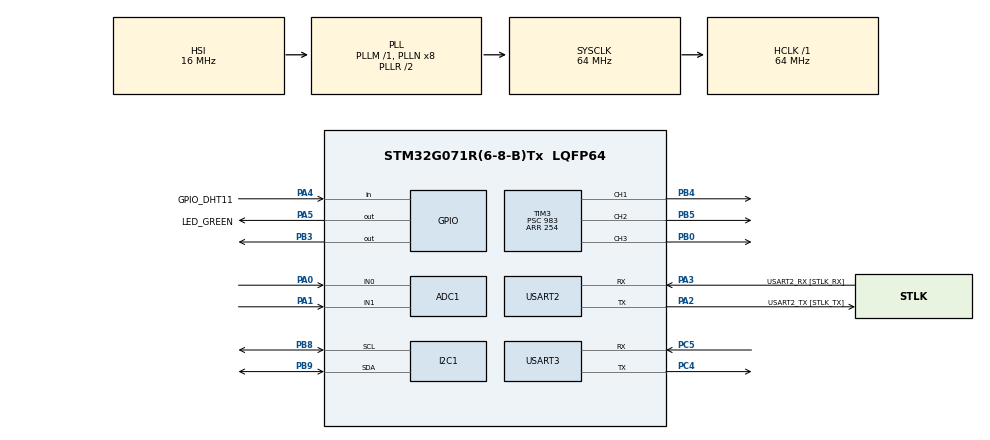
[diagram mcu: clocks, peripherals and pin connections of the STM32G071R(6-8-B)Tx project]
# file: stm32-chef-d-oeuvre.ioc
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ADC1.Channel-0\#ChannelRegularConversion=ADC_CHANNEL_0
ADC1.Channel-1\#ChannelRegularConversion=ADC_CHANNEL_1
ADC1.ClockPrescaler=ADC_CLOCK_ASYNC_DIV1
ADC1.ContinuousConvMode=DISABLE
ADC1.LowPowerAutoWait=ENABLE
ADC1.NbrOfConversion=2
ADC1.NbrOfConversionFlag=1
ADC1.Rank-0\#ChannelRegularConversion=1
ADC1.Rank-1\#ChannelRegularConversion=2
ADC1.SamplingTime-0\#ChannelRegularConversion=ADC_SAMPLINGTIME_COMMON_1
ADC1.SamplingTime-1\#ChannelRegularConversion=ADC_SAMPLINGTIME_COMMON_2
ADC1.master=1
I2C1.Timing=0x10707DBC
Mcu.Family=STM32G0
Mcu.Name=STM32G071R(6-8-B)Tx
Mcu.Package=LQFP64
NVIC.TIM2_IRQn=true\:0\:0\:false\:false\:true\:true\:true
NVIC.TIM6_DAC_LPTIM1_IRQn=true\:0\:0\:false\:false\:true\:true\:true
NVIC.USART2_IRQn=true\:0\:0\:false\:false\:true\:true\:true
NVIC.USART3_4_LPUART1_IRQn=true\:0\:0\:false\:false\:true\:true\:true
PA0.Mode=IN0
PA0.Signal=ADC1_IN0
PA1.Mode=IN1
PA1.Signal=ADC1_IN1
PA13.GPIO_Label=TMS
PA13.Mode=Serial_Wire
PA13.Signal=SYS_SWDIO
PA14-BOOT0.GPIO_Label=TCK
PA14-BOOT0.Mode=Serial_Wire
PA14-BOOT0.Signal=SYS_SWCLK
PA2.GPIO_Label=USART2_TX [STLK_TX]
PA2.GPIO_PuPd=GPIO_PULLUP
PA2.Mode=Asynchronous
PA2.Signal=USART2_TX
PA3.GPIO_Label=USART2_RX [STLK_RX]
PA3.GPIO_PuPd=GPIO_PULLUP
PA3.Mode=Asynchronous
PA3.Signal=USART2_RX
PA4.GPIO_Label=GPIO_DHT11
PA4.Signal=GPIO_Input
PA5.GPIO_Label=LED_GREEN
PA5.GPIO_Speed=GPIO_SPEED_FREQ_HIGH
PA5.Signal=GPIO_Output
PB0.Signal=S_TIM3_CH3
PB3.GPIO_Speed=GPIO_SPEED_FREQ_HIGH
PB3.PinState=GPIO_PIN_SET
PB3.Signal=GPIO_Output
PB4.Signal=S_TIM3_CH1
PB5.Signal=S_TIM3_CH2
PB8.Mode=I2C
PB8.Signal=I2C1_SCL
PB9.Mode=I2C
PB9.Signal=I2C1_SDA
PC13.Mode=SYS_WakeUp1
PC13.Signal=SYS_WKUP2
PC14-OSC32_IN\ (PC14).Mode=LSE-External-Oscillator
PC14-OSC32_IN\ (PC14).Signal=RCC_OSC32_IN
PC15-OSC32_OUT\ (PC15).Mode=LSE-External-Oscillator
PC15-OSC32_OUT\ (PC15).Signal=RCC_OSC32_OUT
PC4.Mode=Asynchronous
PC4.Signal=USART3_TX
PC5.Mode=Asynchronous
PC5.Signal=USART3_RX
PF0-OSC_IN\ (PF0).GPIO_Label=MCO
PF0-OSC_IN\ (PF0).Mode=HSE-External-Clock-Source
PF0-OSC_IN\ (PF0).Signal=RCC_OSC_IN
ProjectManager.HeapSize=0x200
ProjectManager.StackSize=0x400
ProjectManager.TargetToolchain=STM32CubeIDE
RCC.ADCCLockSelection=RCC_ADCCLKSOURCE_HSI
RCC.ADCFreq_Value=16000000
RCC.AHBFreq_Value=64000000
RCC.CortexFreq_Value=64000000
RCC.EXTERNAL_CLOCK_VALUE=12288000
RCC.HCLKFreq_Value=64000000
RCC.HSE_VALUE=8000000
RCC.HSI_VALUE=16000000
RCC.SYSCLKFreq_VALUE=64000000
RCC.SYSCLKSource=RCC_SYSCLKSOURCE_PLLCLK
RCC.VCOOutputFreq_Value=128000000
SH.S_TIM3_CH1.0=TIM3_CH1,PWM Generation1 CH1
SH.S_TIM3_CH2.0=TIM3_CH2,PWM Generation2 CH2
SH.S_TIM3_CH3.0=TIM3_CH3,PWM Generation3 CH3
TIM1.Period=0xffff-1
TIM1.Prescaler=64-1
TIM2.Period=50000-1
TIM2.Prescaler=64-1
TIM3.Channel-PWM\ Generation1\ CH1=TIM_CHANNEL_1
TIM3.Channel-PWM\ Generation2\ CH2=TIM_CHANNEL_2
TIM3.Channel-PWM\ Generation3\ CH3=TIM_CHANNEL_3
TIM3.Period=254
TIM3.Prescaler=983
TIM6.Period=50000-1
TIM6.Prescaler=64-1
USART2.VirtualMode-Asynchronous=VM_ASYNC
USART3.VirtualMode-Asynchronous=VM_ASYNC
VP_SYS_VS_DBSignals.Mode=DisableDeadBatterySignals
VP_TIM1_VS_ClockSourceINT.Mode=Internal
VP_TIM2_VS_ClockSourceINT.Mode=Internal
VP_TIM6_VS_ClockSourceINT.Mode=Enable_Timer
board=NUCLEO-G071RB

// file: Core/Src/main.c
/* USER CODE BEGIN Header */
/**
  ******************************************************************************
  * @file           : main.c
  * @brief          : Main program body
  ******************************************************************************
  * @attention
  *
  * <h2><center>&copy; Copyright (c) 2020 STMicroelectronics.
  * All rights reserved.</center></h2>
  *
  * This software component is licensed by ST under BSD 3-Clause license,
  * the "License"; You may not use this file except in compliance with the
  * License. You may obtain a copy of the License at:
  *                        opensource.org/licenses/BSD-3-Clause
  *
  ******************************************************************************
  */
/* USER CODE END Header */

#include "main.h"

/* USER CODE BEGIN Includes */
#include "stdio.h"
#include <time.h>
#include "math.h"//rand
#include "stdlib.h"//malloc
#include "dbg.h"
#include "tcs34725.h" //RGB Color Sensor
#include "dht11.h" // Humidity & Temperature sensor
#include "mh_sensor_series.h" //Soil moisture
#include "mh-water-sensor.h" //Water level sensor
#include "stm_uid.h"
#include "pump.h"
#include "timer.h"
/* USER CODE END Includes */

/* USER CODE BEGIN PD */
#define RXMAXBUFFERSIZE 512
/* USER CODE END PD */

ADC_HandleTypeDef hadc1;

I2C_HandleTypeDef hi2c1;

TIM_HandleTypeDef htim1;
TIM_HandleTypeDef htim2;
TIM_HandleTypeDef htim3;
TIM_HandleTypeDef htim6;

UART_HandleTypeDef huart2;
UART_HandleTypeDef huart3;

/* USER CODE BEGIN PV */

REQUEST_TYPE FLAG = CYCLE;
uint32_t UIDw0 = 0, UIDw1 = 0, UIDw2 = 0; //for device uid
uint16_t rxIndex = 0;// To built the RX callback
uint8_t rxTemp = 0;//
char rxFromGateway[RXMAXBUFFERSIZE] = {0};//

float realRed = 0.0, realGreen = 0.0, realBlue = 0.0; //RBB driver
float airHumidity = 0.0, temperature = 0.0; //dht11 driver
const char *waterLevel, *moistureState; //water driver & soil moisture
uint32_t start_time;
uint32_t stop_time;
uint32_t periodic_time;

/* USER CODE END PV */

void SystemClock_Config(void);
static void MX_GPIO_Init(void);
static void MX_ADC1_Init(void);
static void MX_I2C1_Init(void);
static void MX_TIM1_Init(void);
static void MX_USART2_UART_Init(void);
static void MX_USART3_UART_Init(void);
static void MX_TIM3_Init(void);
static void MX_TIM2_Init(void);
static void MX_TIM6_Init(void);

/* USER CODE BEGIN 0 */
void readSend_all_sensor_data()
{
	dbg_log("uidW0 = %lu, uidW0 = %lu, uidW0 = %lu", UIDw0, UIDw1, UIDw2);
	HAL_ADC_Start(&hadc1);
	waterLevel = mh_water_get_value();
	dbg_log("water level: %s\n", waterLevel);
	moistureState = moisture_state();
	dbg_log("moisture state: %s\n", moistureState);
	HAL_ADC_Stop(&hadc1);

	tcs34725_get_RGB_Values(&realRed, &realGreen, &realBlue);
	dbg_log("RED = %d, GREEN = %d, BLUE = %d\n", (int) realRed, (int)realGreen, (int)realBlue);
	tcs34725_see_rgbLED(realRed, realGreen, realBlue);

	 //dht11_get_AirHumidity_Temperature(&airHumidity, &temperature);
	 //dbg_log("Air Humidity = %.2f Temperature = %.2f\n", airHumidity, temperature);

	 char *jsonString = malloc(512);
	 sprintf(jsonString,"{\"Id\": %lu, \"AH\": %.2f, \"Tp\": %.2f,  \"Ms\": \"%s\","
	   					" \"Pwr\": \"%s\", \"WL\": \"%s\", \"R\": \"%d\", \"G\":%d, \"B\": %d} ",
	   					UIDw0, 60.0 , 20.0, moistureState, "full", waterLevel,
	   					(int)realRed, (int)realGreen, (int)realBlue);
	 HAL_UART_Transmit(&huart3, (uint8_t *)jsonString, strlen(jsonString), TIME_OUT);
	// HAL_UART_Transmit(&huart2, (uint8_t *)jsonString, strlen(jsonString), TIME_OUT);
	 free(jsonString);

}

/* USER CODE END 0 */

int main(void)
{

  /* MCU Configuration--------------------------------------------------------*/

  /* Reset of all peripherals, Initializes the Flash interface and the Systick. */
  HAL_Init();

  /* Configure the system clock */
  SystemClock_Config();

  /* Initialize all configured peripherals */
  MX_GPIO_Init();
  MX_ADC1_Init();
  MX_I2C1_Init();
  MX_TIM1_Init();
  MX_USART2_UART_Init();
  MX_USART3_UART_Init();
  MX_TIM3_Init();
  MX_TIM2_Init();
  MX_TIM6_Init();
  /* USER CODE BEGIN 2 */
  timer_start(&htim2);
  get_mcu_uid(&UIDw0, &UIDw1, &UIDw2);
  //HAL_UART_Receive_IT(&huart2, (uint8_t *)&rxTemp, 1);//test on serial monitor
  periodic_time = HAL_GetTick();
  HAL_UART_Receive_IT(&huart3, (uint8_t *)&rxTemp, 1);

  /* USER CODE END 2 */

  /* Infinite loop */
  while (1)
  {

    /* USER CODE BEGIN 3 */

	  switch (FLAG) {
	  	  case PERIODIC_DATA:
	  		  printf("periodic data %lu\n", HAL_GetTick() - periodic_time );
	  		  periodic_time = HAL_GetTick();
	  		  readSend_all_sensor_data();
	  		  FLAG = CYCLE;//wait
		  break;
		  case IRRIGATE:
			  pump_action_start();
			  timer_start(&SINGLE_HANDLER);
			  start_time = HAL_GetTick();
			 // printf(" START TIME %lu", start_time);
			  FLAG = CYCLE;
			  break;
		  case STOP_PUMP:
			 pump_action_stop();
			 timer_stop(&SINGLE_HANDLER);
			 stop_time = HAL_GetTick();
			 //printf(" STOP TIME %lu", stop_time);
			 printf(" PUMP TIME %lu\n", stop_time-start_time);
			 FLAG = CYCLE;
			  break;
		  case REQUEST_DATA:
			  readSend_all_sensor_data();
			  FLAG = CYCLE;
			  break;

	  	  default:
	  		  break;
	  }
  }

  /* USER CODE END 3 */
}

void SystemClock_Config(void)
{
  RCC_OscInitTypeDef RCC_OscInitStruct = {0};
  RCC_ClkInitTypeDef RCC_ClkInitStruct = {0};
  RCC_PeriphCLKInitTypeDef PeriphClkInit = {0};

  /** Configure the main internal regulator output voltage
  */
  HAL_PWREx_ControlVoltageScaling(PWR_REGULATOR_VOLTAGE_SCALE1);
  /** Initializes the CPU, AHB and APB busses clocks
  */
  RCC_OscInitStruct.OscillatorType = RCC_OSCILLATORTYPE_HSI;
  RCC_OscInitStruct.HSIState = RCC_HSI_ON;
  RCC_OscInitStruct.HSIDiv = RCC_HSI_DIV1;
  RCC_OscInitStruct.HSICalibrationValue = RCC_HSICALIBRATION_DEFAULT;
  RCC_OscInitStruct.PLL.PLLState = RCC_PLL_ON;
  RCC_OscInitStruct.PLL.PLLSource = RCC_PLLSOURCE_HSI;
  RCC_OscInitStruct.PLL.PLLM = RCC_PLLM_DIV1;
  RCC_OscInitStruct.PLL.PLLN = 8;
  RCC_OscInitStruct.PLL.PLLP = RCC_PLLP_DIV2;
  RCC_OscInitStruct.PLL.PLLQ = RCC_PLLQ_DIV2;
  RCC_OscInitStruct.PLL.PLLR = RCC_PLLR_DIV2;
  if (HAL_RCC_OscConfig(&RCC_OscInitStruct) != HAL_OK)
  {
    Error_Handler();
  }
  /** Initializes the CPU, AHB and APB busses clocks
  */
  RCC_ClkInitStruct.ClockType = RCC_CLOCKTYPE_HCLK|RCC_CLOCKTYPE_SYSCLK
                              |RCC_CLOCKTYPE_PCLK1;
  RCC_ClkInitStruct.SYSCLKSource = RCC_SYSCLKSOURCE_PLLCLK;
  RCC_ClkInitStruct.AHBCLKDivider = RCC_SYSCLK_DIV1;
  RCC_ClkInitStruct.APB1CLKDivider = RCC_HCLK_DIV1;

  if (HAL_RCC_ClockConfig(&RCC_ClkInitStruct, FLASH_LATENCY_2) != HAL_OK)
  {
    Error_Handler();
  }
  /** Initializes the peripherals clocks
  */
  PeriphClkInit.PeriphClockSelection = RCC_PERIPHCLK_USART2|RCC_PERIPHCLK_I2C1
                              |RCC_PERIPHCLK_ADC|RCC_PERIPHCLK_TIM1;
  PeriphClkInit.Usart2ClockSelection = RCC_USART2CLKSOURCE_PCLK1;
  PeriphClkInit.I2c1ClockSelection = RCC_I2C1CLKSOURCE_PCLK1;
  PeriphClkInit.AdcClockSelection = RCC_ADCCLKSOURCE_HSI;
  PeriphClkInit.Tim1ClockSelection = RCC_TIM1CLKSOURCE_PCLK1;
  if (HAL_RCCEx_PeriphCLKConfig(&PeriphClkInit) != HAL_OK)
  {
    Error_Handler();
  }
}

static void MX_ADC1_Init(void)
{

  ADC_AnalogWDGConfTypeDef AnalogWDGConfig = {0};
  ADC_ChannelConfTypeDef sConfig = {0};

  /** Configure the global features of the ADC (Clock, Resolution, Data Alignment and number of conversion)
  */
  hadc1.Instance = ADC1;
  hadc1.Init.ClockPrescaler = ADC_CLOCK_ASYNC_DIV1;
  hadc1.Init.Resolution = ADC_RESOLUTION_12B;
  hadc1.Init.DataAlign = ADC_DATAALIGN_RIGHT;
  hadc1.Init.ScanConvMode = ADC_SCAN_ENABLE;
  hadc1.Init.EOCSelection = ADC_EOC_SINGLE_CONV;
  hadc1.Init.LowPowerAutoWait = ENABLE;
  hadc1.Init.LowPowerAutoPowerOff = DISABLE;
  hadc1.Init.ContinuousConvMode = DISABLE;
  hadc1.Init.NbrOfConversion = 2;
  hadc1.Init.DiscontinuousConvMode = DISABLE;
  hadc1.Init.ExternalTrigConv = ADC_SOFTWARE_START;
  hadc1.Init.ExternalTrigConvEdge = ADC_EXTERNALTRIGCONVEDGE_NONE;
  hadc1.Init.DMAContinuousRequests = DISABLE;
  hadc1.Init.Overrun = ADC_OVR_DATA_PRESERVED;
  hadc1.Init.SamplingTimeCommon1 = ADC_SAMPLETIME_1CYCLE_5;
  hadc1.Init.SamplingTimeCommon2 = ADC_SAMPLETIME_1CYCLE_5;
  hadc1.Init.OversamplingMode = DISABLE;
  hadc1.Init.TriggerFrequencyMode = ADC_TRIGGER_FREQ_HIGH;
  if (HAL_ADC_Init(&hadc1) != HAL_OK)
  {
    Error_Handler();
  }
  /** Configure Analog WatchDog 2
  */
  AnalogWDGConfig.WatchdogMode = ADC_ANALOGWATCHDOG_SINGLE_REG;
  if (HAL_ADC_AnalogWDGConfig(&hadc1, &AnalogWDGConfig) != HAL_OK)
  {
    Error_Handler();
  }
  /** Configure Regular Channel
  */
  sConfig.Channel = ADC_CHANNEL_0;
  sConfig.Rank = ADC_REGULAR_RANK_1;
  sConfig.SamplingTime = ADC_SAMPLINGTIME_COMMON_1;
  if (HAL_ADC_ConfigChannel(&hadc1, &sConfig) != HAL_OK)
  {
    Error_Handler();
  }
  /** Configure Regular Channel
  */
  sConfig.Channel = ADC_CHANNEL_1;
  sConfig.Rank = ADC_REGULAR_RANK_2;
  sConfig.SamplingTime = ADC_SAMPLINGTIME_COMMON_2;
  if (HAL_ADC_ConfigChannel(&hadc1, &sConfig) != HAL_OK)
  {
    Error_Handler();
  }

}

static void MX_I2C1_Init(void)
{

  hi2c1.Instance = I2C1;
  hi2c1.Init.Timing = 0x10707DBC;
  hi2c1.Init.OwnAddress1 = 0;
  hi2c1.Init.AddressingMode = I2C_ADDRESSINGMODE_7BIT;
  hi2c1.Init.DualAddressMode = I2C_DUALADDRESS_DISABLE;
  hi2c1.Init.OwnAddress2 = 0;
  hi2c1.Init.OwnAddress2Masks = I2C_OA2_NOMASK;
  hi2c1.Init.GeneralCallMode = I2C_GENERALCALL_DISABLE;
  hi2c1.Init.NoStretchMode = I2C_NOSTRETCH_DISABLE;
  if (HAL_I2C_Init(&hi2c1) != HAL_OK)
  {
    Error_Handler();
  }
  /** Configure Analogue filter
  */
  if (HAL_I2CEx_ConfigAnalogFilter(&hi2c1, I2C_ANALOGFILTER_ENABLE) != HAL_OK)
  {
    Error_Handler();
  }
  /** Configure Digital filter
  */
  if (HAL_I2CEx_ConfigDigitalFilter(&hi2c1, 0) != HAL_OK)
  {
    Error_Handler();
  }

}

static void MX_TIM1_Init(void)
{

  TIM_ClockConfigTypeDef sClockSourceConfig = {0};
  TIM_MasterConfigTypeDef sMasterConfig = {0};
  TIM_BreakDeadTimeConfigTypeDef sBreakDeadTimeConfig = {0};

  htim1.Instance = TIM1;
  htim1.Init.Prescaler = 64-1;
  htim1.Init.CounterMode = TIM_COUNTERMODE_UP;
  htim1.Init.Period = 0xffff-1;
  htim1.Init.ClockDivision = TIM_CLOCKDIVISION_DIV1;
  htim1.Init.RepetitionCounter = 0;
  htim1.Init.AutoReloadPreload = TIM_AUTORELOAD_PRELOAD_DISABLE;
  if (HAL_TIM_Base_Init(&htim1) != HAL_OK)
  {
    Error_Handler();
  }
  sClockSourceConfig.ClockSource = TIM_CLOCKSOURCE_INTERNAL;
  if (HAL_TIM_ConfigClockSource(&htim1, &sClockSourceConfig) != HAL_OK)
  {
    Error_Handler();
  }
  sMasterConfig.MasterOutputTrigger = TIM_TRGO_RESET;
  sMasterConfig.MasterOutputTrigger2 = TIM_TRGO2_RESET;
  sMasterConfig.MasterSlaveMode = TIM_MASTERSLAVEMODE_DISABLE;
  if (HAL_TIMEx_MasterConfigSynchronization(&htim1, &sMasterConfig) != HAL_OK)
  {
    Error_Handler();
  }
  sBreakDeadTimeConfig.BreakAFMode = TIM_BREAK_AFMODE_INPUT;
  sBreakDeadTimeConfig.Break2AFMode = TIM_BREAK_AFMODE_INPUT;
  if (HAL_TIMEx_ConfigBreakDeadTime(&htim1, &sBreakDeadTimeConfig) != HAL_OK)
  {
    Error_Handler();
  }

}

static void MX_TIM2_Init(void)
{

  TIM_ClockConfigTypeDef sClockSourceConfig = {0};
  TIM_MasterConfigTypeDef sMasterConfig = {0};

  htim2.Instance = TIM2;
  htim2.Init.Prescaler = 64-1;
  htim2.Init.CounterMode = TIM_COUNTERMODE_UP;
  htim2.Init.Period = 50000-1;
  htim2.Init.ClockDivision = TIM_CLOCKDIVISION_DIV1;
  htim2.Init.AutoReloadPreload = TIM_AUTORELOAD_PRELOAD_DISABLE;
  if (HAL_TIM_Base_Init(&htim2) != HAL_OK)
  {
    Error_Handler();
  }
  sClockSourceConfig.ClockSource = TIM_CLOCKSOURCE_INTERNAL;
  if (HAL_TIM_ConfigClockSource(&htim2, &sClockSourceConfig) != HAL_OK)
  {
    Error_Handler();
  }
  sMasterConfig.MasterOutputTrigger = TIM_TRGO_RESET;
  sMasterConfig.MasterSlaveMode = TIM_MASTERSLAVEMODE_DISABLE;
  if (HAL_TIMEx_MasterConfigSynchronization(&htim2, &sMasterConfig) != HAL_OK)
  {
    Error_Handler();
  }

}

static void MX_TIM3_Init(void)
{

  TIM_MasterConfigTypeDef sMasterConfig = {0};
  TIM_OC_InitTypeDef sConfigOC = {0};

  htim3.Instance = TIM3;
  htim3.Init.Prescaler = 983;
  htim3.Init.CounterMode = TIM_COUNTERMODE_UP;
  htim3.Init.Period = 254;
  htim3.Init.ClockDivision = TIM_CLOCKDIVISION_DIV1;
  htim3.Init.AutoReloadPreload = TIM_AUTORELOAD_PRELOAD_DISABLE;
  if (HAL_TIM_PWM_Init(&htim3) != HAL_OK)
  {
    Error_Handler();
  }
  sMasterConfig.MasterOutputTrigger = TIM_TRGO_RESET;
  sMasterConfig.MasterSlaveMode = TIM_MASTERSLAVEMODE_DISABLE;
  if (HAL_TIMEx_MasterConfigSynchronization(&htim3, &sMasterConfig) != HAL_OK)
  {
    Error_Handler();
  }
  sConfigOC.OCMode = TIM_OCMODE_PWM1;
  sConfigOC.Pulse = 0;
  sConfigOC.OCPolarity = TIM_OCPOLARITY_HIGH;
  sConfigOC.OCFastMode = TIM_OCFAST_DISABLE;
  if (HAL_TIM_PWM_ConfigChannel(&htim3, &sConfigOC, TIM_CHANNEL_1) != HAL_OK)
  {
    Error_Handler();
  }
  if (HAL_TIM_PWM_ConfigChannel(&htim3, &sConfigOC, TIM_CHANNEL_2) != HAL_OK)
  {
    Error_Handler();
  }
  if (HAL_TIM_PWM_ConfigChannel(&htim3, &sConfigOC, TIM_CHANNEL_3) != HAL_OK)
  {
    Error_Handler();
  }
  HAL_TIM_MspPostInit(&htim3);

}

static void MX_TIM6_Init(void)
{

  TIM_MasterConfigTypeDef sMasterConfig = {0};

  htim6.Instance = TIM6;
  htim6.Init.Prescaler = 64-1;
  htim6.Init.CounterMode = TIM_COUNTERMODE_UP;
  htim6.Init.Period = 50000-1;
  htim6.Init.AutoReloadPreload = TIM_AUTORELOAD_PRELOAD_DISABLE;
  if (HAL_TIM_Base_Init(&htim6) != HAL_OK)
  {
    Error_Handler();
  }
  sMasterConfig.MasterOutputTrigger = TIM_TRGO_RESET;
  sMasterConfig.MasterSlaveMode = TIM_MASTERSLAVEMODE_DISABLE;
  if (HAL_TIMEx_MasterConfigSynchronization(&htim6, &sMasterConfig) != HAL_OK)
  {
    Error_Handler();
  }

}

static void MX_USART2_UART_Init(void)
{

  huart2.Instance = USART2;
  huart2.Init.BaudRate = 115200;
  huart2.Init.WordLength = UART_WORDLENGTH_8B;
  huart2.Init.StopBits = UART_STOPBITS_1;
  huart2.Init.Parity = UART_PARITY_NONE;
  huart2.Init.Mode = UART_MODE_TX_RX;
  huart2.Init.HwFlowCtl = UART_HWCONTROL_NONE;
  huart2.Init.OverSampling = UART_OVERSAMPLING_16;
  huart2.Init.OneBitSampling = UART_ONE_BIT_SAMPLE_DISABLE;
  huart2.Init.ClockPrescaler = UART_PRESCALER_DIV1;
  huart2.AdvancedInit.AdvFeatureInit = UART_ADVFEATURE_NO_INIT;
  if (HAL_UART_Init(&huart2) != HAL_OK)
  {
    Error_Handler();
  }
  if (HAL_UARTEx_SetTxFifoThreshold(&huart2, UART_TXFIFO_THRESHOLD_1_8) != HAL_OK)
  {
    Error_Handler();
  }
  if (HAL_UARTEx_SetRxFifoThreshold(&huart2, UART_RXFIFO_THRESHOLD_1_8) != HAL_OK)
  {
    Error_Handler();
  }
  if (HAL_UARTEx_DisableFifoMode(&huart2) != HAL_OK)
  {
    Error_Handler();
  }

}

static void MX_USART3_UART_Init(void)
{

  huart3.Instance = USART3;
  huart3.Init.BaudRate = 115200;
  huart3.Init.WordLength = UART_WORDLENGTH_8B;
  huart3.Init.StopBits = UART_STOPBITS_1;
  huart3.Init.Parity = UART_PARITY_NONE;
  huart3.Init.Mode = UART_MODE_TX_RX;
  huart3.Init.HwFlowCtl = UART_HWCONTROL_NONE;
  huart3.Init.OverSampling = UART_OVERSAMPLING_16;
  huart3.Init.OneBitSampling = UART_ONE_BIT_SAMPLE_DISABLE;
  huart3.Init.ClockPrescaler = UART_PRESCALER_DIV1;
  huart3.AdvancedInit.AdvFeatureInit = UART_ADVFEATURE_NO_INIT;
  if (HAL_UART_Init(&huart3) != HAL_OK)
  {
    Error_Handler();
  }

}

static void MX_GPIO_Init(void)
{
  GPIO_InitTypeDef GPIO_InitStruct = {0};

  /* GPIO Ports Clock Enable */
  __HAL_RCC_GPIOC_CLK_ENABLE();
  __HAL_RCC_GPIOF_CLK_ENABLE();
  __HAL_RCC_GPIOA_CLK_ENABLE();
  __HAL_RCC_GPIOB_CLK_ENABLE();

  /*Configure GPIO pin Output Level */
  HAL_GPIO_WritePin(LED_GREEN_GPIO_Port, LED_GREEN_Pin, GPIO_PIN_RESET);

  /*Configure GPIO pin Output Level */
  HAL_GPIO_WritePin(GPIOB, GPIO_PIN_3, GPIO_PIN_SET);

  /*Configure GPIO pin : GPIO_DHT11_Pin */
  GPIO_InitStruct.Pin = GPIO_DHT11_Pin;
  GPIO_InitStruct.Mode = GPIO_MODE_INPUT;
  GPIO_InitStruct.Pull = GPIO_NOPULL;
  HAL_GPIO_Init(GPIO_DHT11_GPIO_Port, &GPIO_InitStruct);

  /*Configure GPIO pin : LED_GREEN_Pin */
  GPIO_InitStruct.Pin = LED_GREEN_Pin;
  GPIO_InitStruct.Mode = GPIO_MODE_OUTPUT_PP;
  GPIO_InitStruct.Pull = GPIO_NOPULL;
  GPIO_InitStruct.Speed = GPIO_SPEED_FREQ_HIGH;
  HAL_GPIO_Init(LED_GREEN_GPIO_Port, &GPIO_InitStruct);

  /*Configure GPIO pin : PB3 */
  GPIO_InitStruct.Pin = GPIO_PIN_3;
  GPIO_InitStruct.Mode = GPIO_MODE_OUTPUT_PP;
  GPIO_InitStruct.Pull = GPIO_NOPULL;
  GPIO_InitStruct.Speed = GPIO_SPEED_FREQ_HIGH;
  HAL_GPIO_Init(GPIOB, &GPIO_InitStruct);

}

/* USER CODE BEGIN 4 */
/*
 *Waiting for Rx message and do the corresponding actions
 */
void HAL_UART_RxCpltCallback(UART_HandleTypeDef *huart)
{
  /* Prevent unused argument(s) compilation warning */
  UNUSED(huart);

  /* NOTE : This function should not be modified, when the callback is needed,
            the HAL_UART_RxCpltCallback can be implemented in the user file.
   */

  if(rxIndex < (RXMAXBUFFERSIZE-1))
  {
	  if(((char)rxTemp == '\r') || ((char)rxTemp == '\n'))
  	  {
		  rxFromGateway[rxIndex] = '\0';
  		  if(strcmp(rxFromGateway, "get data") == 0 )
  		  {
  			  FLAG = REQUEST_DATA;
  			  //HAL_GPIO_WritePin(GPIOA, GPIO_PIN_5, GPIO_PIN_SET);
  			 // memset( rxFromGateway, 0, RXMAXBUFFERSIZE );
  			  //rxFromGateway[0] = '\0';

  		  }
  		  else if(strcmp(rxFromGateway, "irrigate") == 0)
  		  {
  			  FLAG = IRRIGATE;

  			//rxFromGateway[0] = '\0';

  		  }
  		  else
  		  {
  			  HAL_UART_Transmit(&huart3, (uint8_t *)"REQUEST ERROR\n", 15, TIME_OUT);
  			 // HAL_UART_Transmit(&huart2, (uint8_t *)"REQUEST ERROR\n", 15, TIME_OUT);
  		  }
		memset( rxFromGateway, 0, RXMAXBUFFERSIZE );
  		rxIndex = 0;
  	  }
  	  else
  	  {
  		  rxFromGateway[rxIndex] = rxTemp;
  		  rxIndex++;
  	  }
  }
  HAL_UART_Receive_IT(&huart3, (uint8_t *)&rxTemp, 1);

}

/* USER CODE END 4 */

void Error_Handler(void)
{
}

/************************ (C) COPYRIGHT STMicroelectronics *****END OF FILE****/
